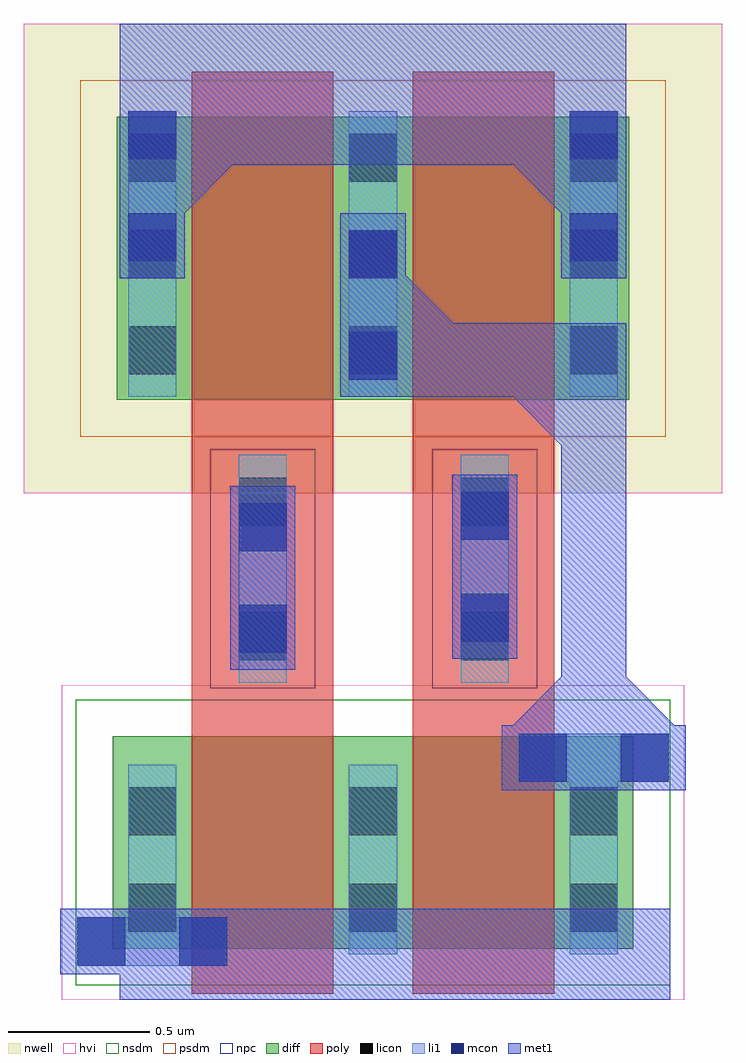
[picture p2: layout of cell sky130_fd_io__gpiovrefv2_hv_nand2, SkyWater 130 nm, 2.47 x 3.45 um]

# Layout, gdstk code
from math import pi, radians
import gdstk
lib = gdstk.Library(unit=1e-6, precision=1e-09)
def R(c, l, rs):  # rectangles x0, y0, x1, y1
    for r in rs: c.add(gdstk.rectangle(r[:2], r[2:], *l))
def A(c, l, x, y, w, h, nx, ny, dx, dy):  # array of equal rectangles
    R(c, l, [(x+i*dx, y+j*dy, x+i*dx+w, y+j*dy+h) for i in range(nx) for j in range(ny)])
def P(c, l, *ps):  # polygons
    for p in ps: c.add(gdstk.Polygon(p, *l))
nwell = (64, 20)
diff = (65, 20)
poly = (66, 20)
licon = (66, 44)
li1 = (67, 20)
mcon = (67, 44)
met1 = (68, 20)
hvi = (75, 20)
nsdm = (93, 44)
psdm = (94, 20)
npc = (95, 20)

dfl1sd2_cdns_52468879185 = lib.new_cell('DFL1sd2_CDNS_52468879185246')
R(dfl1sd2_cdns_52468879185, diff, [(0,0,0.28,0.75)])
R(dfl1sd2_cdns_52468879185, licon, [(0.055,0.06,0.225,0.23), (0.055,0.4,0.225,0.57)])
R(dfl1sd2_cdns_52468879185, li1, [(0.055,-0.02,0.225,0.65)])
R(dfl1sd2_cdns_52468879185, nsdm, [(-0.13,-0.13,0.41,0.88)])

nfet_cdns_52468879185814 = lib.new_cell('nfet_CDNS_52468879185814')
R(nfet_cdns_52468879185814, diff, [(-0.25,0,0,0.75), (0,0,0.5,0.75), (0.5,0,0.75,0.75)])
R(nfet_cdns_52468879185814, poly, [(0,-0.16,0.5,0), (0,-0.16,0.5,0.91), (0,0.75,0.5,0.91)])
R(nfet_cdns_52468879185814, li1, [(-0.225,-0.02,-0.055,0.65), (0.555,-0.02,0.725,0.65)])
R(nfet_cdns_52468879185814, hvi, [(-0.46,-0.18,0.96,0.93)])
R(nfet_cdns_52468879185814, nsdm, [(-0.25,-0.13,0.75,0.88)])
nfet_cdns_52468879185814.add(gdstk.Reference(dfl1sd2_cdns_52468879185, (0.5,0)))
nfet_cdns_52468879185814.add(gdstk.Reference(dfl1sd2_cdns_52468879185, (0,0), rotation=pi, x_reflection=True))
nfet_cdns_52468879185814.add(gdstk.Label('S', (-0.14,0.315), layer=83, texttype=44))
nfet_cdns_52468879185814.add(gdstk.Label('D', (0.64,0.315), layer=83, texttype=44))

dfl1sd_cdns_524688791852 = lib.new_cell('DFL1sd_CDNS_5246887918529')
R(dfl1sd_cdns_524688791852, nwell, [(-0.18,-0.18,0.445,1.18)])
R(dfl1sd_cdns_524688791852, diff, [(0,0,0.265,1)])
A(dfl1sd_cdns_524688791852, licon, 0.055, 0.06, 0.17, 0.17, 1, 3, 0, 0.34)
R(dfl1sd_cdns_524688791852, li1, [(0.055,-0.02,0.225,0.99)])
R(dfl1sd_cdns_524688791852, psdm, [(-0.13,-0.13,0.395,1.13)])

pfet_cdns_52468879185725 = lib.new_cell('pfet_CDNS_52468879185725')
R(pfet_cdns_52468879185725, nwell, [(-0.595,-0.33,1.095,1.33), (-0.445,-0.18,0.945,1.18)])
R(pfet_cdns_52468879185725, diff, [(-0.25,0,0,1), (0,0,0.5,1), (0.5,0,0.75,1)])
R(pfet_cdns_52468879185725, poly, [(0,-0.16,0.5,0), (0,-0.16,0.5,1.16), (0,1,0.5,1.16)])
R(pfet_cdns_52468879185725, li1, [(-0.225,-0.02,-0.055,0.99), (0.555,-0.02,0.725,0.99)])
R(pfet_cdns_52468879185725, hvi, [(-0.595,-0.33,1.095,1.33)])
R(pfet_cdns_52468879185725, psdm, [(-0.25,-0.13,0.75,1.13)])
pfet_cdns_52468879185725.add(gdstk.Reference(dfl1sd_cdns_524688791852, (0.5,0)))
pfet_cdns_52468879185725.add(gdstk.Reference(dfl1sd_cdns_524688791852, (0,0), rotation=pi, x_reflection=True))
pfet_cdns_52468879185725.add(gdstk.Label('S', (-0.14,0.485), layer=83, texttype=44))
pfet_cdns_52468879185725.add(gdstk.Label('D', (0.64,0.485), layer=83, texttype=44))

sky130_fd_io__gpiovrefv2 = lib.new_cell('sky130_fd_io__gpiovrefv2_hv_nand2')
R(sky130_fd_io__gpiovrefv2, poly, [(0.595,1.09,1.095,1.96), (1.375,1.09,1.875,1.96)])
R(sky130_fd_io__gpiovrefv2, licon, [(0.76,1.2,0.93,1.37), (1.545,1.2,1.715,1.37), (0.76,1.675,0.93,1.845), (1.545,1.675,1.715,1.845)])
R(sky130_fd_io__gpiovrefv2, mcon, [(0.19,0.12,0.36,0.29), (0.55,0.12,0.72,0.29), (1.75,0.77,1.92,0.94), (2.11,0.77,2.28,0.94), (0.76,1.225,0.93,1.395), (1.545,1.265,1.715,1.435), (0.76,1.585,0.93,1.755), (1.545,1.625,1.715,1.795), (1.15,2.19,1.32,2.36), (1.15,2.55,1.32,2.72), (0.37,2.61,0.54,2.78), (1.93,2.61,2.1,2.78), (0.37,2.97,0.54,3.14), (1.93,2.97,2.1,3.14)])
R(sky130_fd_io__gpiovrefv2, met1, [(0.34,0,2.285,0.32)])
P(sky130_fd_io__gpiovrefv2, met1, [(2.3,0.97),(2.13,1.14),(2.13,2.39),(1.52,2.39),(1.35,2.56),(1.35,2.39),(1.275,2.39),(1.275,2.13),(1.73,2.13),(1.9,1.96),(1.9,1.14),(1.73,0.97),(1.9,0.97),(1.9,0.875),(2.13,0.875),(2.13,0.97)],
  [(2.13,3.45),(0.34,3.45),(0.34,2.95),(0.57,2.95),(0.57,2.78),(0.74,2.95),(1.73,2.95),(1.9,2.78),(1.9,2.95),(2.13,2.95)])
sky130_fd_io__gpiovrefv2.add(gdstk.FlexPath([(1.63,1.12),(1.63,1.925)], 0.33, ends="flush", simple_path=True, layer=66, datatype=20))  # poly
sky130_fd_io__gpiovrefv2.add(gdstk.FlexPath([(0.845,1.12),(0.845,1.925)], 0.33, ends="flush", simple_path=True, layer=66, datatype=20))  # poly
sky130_fd_io__gpiovrefv2.add(gdstk.FlexPath([(2.015,2.61),(2.015,3.14)], 0.17, ends="flush", simple_path=True, layer=67, datatype=20))  # li1
sky130_fd_io__gpiovrefv2.add(gdstk.FlexPath([(0.72,0.205),(0.19,0.205)], 0.17, ends="flush", simple_path=True, layer=67, datatype=20))  # li1
sky130_fd_io__gpiovrefv2.add(gdstk.FlexPath([(0.845,1.225),(0.845,1.755)], 0.17, ends="flush", simple_path=True, layer=67, datatype=20))  # li1
sky130_fd_io__gpiovrefv2.add(gdstk.FlexPath([(2.28,0.855),(1.75,0.855)], 0.17, ends="flush", simple_path=True, layer=67, datatype=20))  # li1
sky130_fd_io__gpiovrefv2.add(gdstk.FlexPath([(1.63,1.265),(1.63,1.795)], 0.17, ends="flush", simple_path=True, layer=67, datatype=20))  # li1
sky130_fd_io__gpiovrefv2.add(gdstk.FlexPath([(1.63,1.12),(1.63,1.925)], 0.17, ends="flush", simple_path=True, layer=67, datatype=20))  # li1
sky130_fd_io__gpiovrefv2.add(gdstk.FlexPath([(0.845,1.12),(0.845,1.925)], 0.17, ends="flush", simple_path=True, layer=67, datatype=20))  # li1
sky130_fd_io__gpiovrefv2.add(gdstk.FlexPath([(1.235,2.19),(1.235,2.72)], 0.17, ends="flush", simple_path=True, layer=67, datatype=20))  # li1
sky130_fd_io__gpiovrefv2.add(gdstk.FlexPath([(0.455,2.61),(0.455,3.14)], 0.17, ends="flush", simple_path=True, layer=67, datatype=20))  # li1
sky130_fd_io__gpiovrefv2.add(gdstk.FlexPath([(0.845,1.1),(0.845,1.945)], 0.37, ends="flush", simple_path=True, layer=95, datatype=20))  # npc
sky130_fd_io__gpiovrefv2.add(gdstk.FlexPath([(1.63,1.1),(1.63,1.945)], 0.37, ends="flush", simple_path=True, layer=95, datatype=20))  # npc
sky130_fd_io__gpiovrefv2.add(gdstk.FlexPath([(0.78,0.205),(0.13,0.205)], 0.23, ends="flush", simple_path=True, layer=68, datatype=20))  # met1
sky130_fd_io__gpiovrefv2.add(gdstk.FlexPath([(0.845,1.165),(0.845,1.815)], 0.23, ends="flush", simple_path=True, layer=68, datatype=20))  # met1
sky130_fd_io__gpiovrefv2.add(gdstk.FlexPath([(2.34,0.855),(1.69,0.855)], 0.23, ends="flush", simple_path=True, layer=68, datatype=20))  # met1
sky130_fd_io__gpiovrefv2.add(gdstk.FlexPath([(2.015,2.55),(2.015,3.2)], 0.23, ends="flush", simple_path=True, layer=68, datatype=20))  # met1
sky130_fd_io__gpiovrefv2.add(gdstk.FlexPath([(1.63,1.205),(1.63,1.855)], 0.23, ends="flush", simple_path=True, layer=68, datatype=20))  # met1
sky130_fd_io__gpiovrefv2.add(gdstk.FlexPath([(1.235,2.13),(1.235,2.78)], 0.23, ends="flush", simple_path=True, layer=68, datatype=20))  # met1
sky130_fd_io__gpiovrefv2.add(gdstk.FlexPath([(0.455,2.55),(0.455,3.2)], 0.23, ends="flush", simple_path=True, layer=68, datatype=20))  # met1
sky130_fd_io__gpiovrefv2.add(gdstk.Reference(nfet_cdns_52468879185814, (1.375,0.18)))
sky130_fd_io__gpiovrefv2.add(gdstk.Reference(nfet_cdns_52468879185814, (0.595,0.18)))
sky130_fd_io__gpiovrefv2.add(gdstk.Reference(pfet_cdns_52468879185725, (0.595,3.12), x_reflection=True))
sky130_fd_io__gpiovrefv2.add(gdstk.Reference(pfet_cdns_52468879185725, (1.375,3.12), x_reflection=True))

lib.write_gds('sky130_fd_io__gpiovrefv2_hv_nand2.gds')
